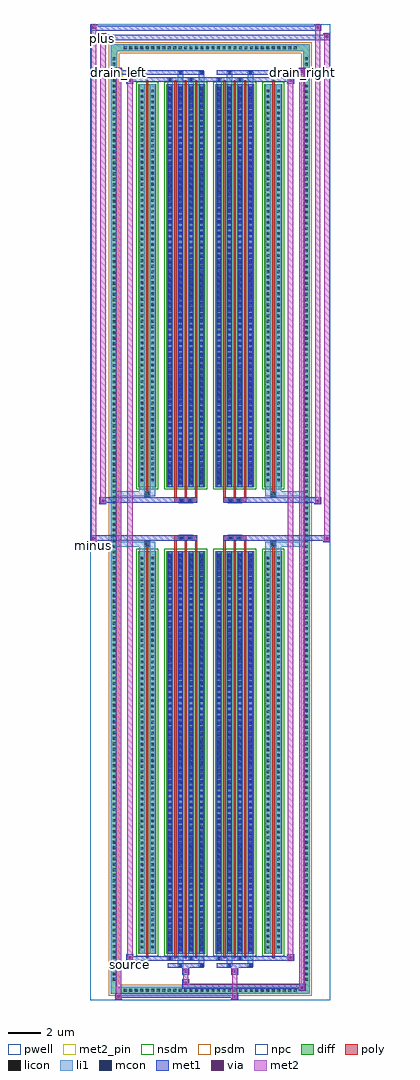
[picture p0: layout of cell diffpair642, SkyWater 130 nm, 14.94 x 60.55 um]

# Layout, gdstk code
import gdstk
lib = gdstk.Library(unit=1e-6, precision=5e-09)
def R(c, l, rs):  # rectangles x0, y0, x1, y1
    for r in rs: c.add(gdstk.rectangle(r[:2], r[2:], *l))
def A(c, l, x, y, w, h, nx, ny, dx, dy):  # array of equal rectangles
    R(c, l, [(x+i*dx, y+j*dy, x+i*dx+w, y+j*dy+h) for i in range(nx) for j in range(ny)])
def P(c, l, *ps):  # polygons
    for p in ps: c.add(gdstk.Polygon(p, *l))
pwell = (64, 44)
diff = (65, 20)
poly = (66, 20)
licon = (66, 44)
li1 = (67, 20)
mcon = (67, 44)
met1 = (68, 20)
via = (68, 44)
met2_pin = (69, 16)
met2 = (69, 20)
nsdm = (93, 44)
psdm = (94, 20)
npc = (95, 20)

diffpair642 = lib.new_cell('diffpair642')
R(diffpair642, pwell, [(-7.45,-29.84,7.45,30.71), (-4.77,-28.03,-0.01,-0.805), (0.01,-28.03,4.77,-0.805), (-4.77,0.805,-0.01,28.03), (0.01,0.805,4.77,28.03)])
A(diffpair642, diff, -5.475, -29.44, 0.41, 0.41, 32, 2, 0.34, 58.47)
A(diffpair642, diff, -6.18, -28.765, 0.41, 0.41, 1, 169, 0, 0.34)
A(diffpair642, diff, 5.77, -28.765, 0.41, 0.41, 1, 169, 0, 0.34)
R(diffpair642, diff, [(-5.475,-29.44,5.475,-29.03), (-6.18,-28.765,-5.77,28.765), (5.77,-28.765,6.18,28.765), (-4.46,-26.985,-3.36,-1.985), (-2.72,-26.985,-0.32,-1.985), (0.32,-26.985,2.72,-1.985), (3.36,-26.985,4.46,-1.985), (-4.46,1.985,-3.36,26.985), (-2.72,1.985,-0.32,26.985), (0.32,1.985,2.72,26.985), (3.36,1.985,4.46,26.985), (-5.475,29.03,5.475,29.44)])
P(diffpair642, diff, [(6.18,29.44),(-6.18,29.44),(-6.18,-29.03),(-5.77,-29.03),(-5.77,29.03),(5.77,29.03),(5.77,-29.03),(-5.77,-29.03),(-6.18,-29.03),(-6.18,-29.44),(6.18,-29.44)])
A(diffpair642, poly, -2.245, -27.235, 0.15, 25.5, 3, 2, 0.65, 28.97)
A(diffpair642, poly, 0.795, -27.235, 0.15, 25.5, 3, 2, 0.65, 28.97)
A(diffpair642, poly, -2.245, -1.735, 0.15, 0.4, 3, 2, 0.65, 3.07)
A(diffpair642, poly, 0.795, -1.735, 0.15, 0.4, 3, 2, 0.65, 3.07)
R(diffpair642, poly, [(-3.985,-27.235,-3.835,-1.735), (3.835,-27.235,3.985,-1.735), (-4.075,-1.735,-3.745,-1.405), (-4.075,-1.735,-3.745,-1.405), (3.745,-1.735,4.075,-1.405), (3.745,-1.735,4.075,-1.405), (-2.245,-1.335,-0.795,-1.005), (-1.935,-1.335,-1.605,-1.005), (-1.435,-1.335,-1.105,-1.005), (0.795,-1.335,2.245,-1.005), (1.105,-1.335,1.435,-1.005), (1.605,-1.335,1.935,-1.005), (-2.245,1.005,-0.795,1.335), (-1.935,1.005,-1.605,1.335), (-1.435,1.005,-1.105,1.335), (0.795,1.005,2.245,1.335), (1.105,1.005,1.435,1.335), (1.605,1.005,1.935,1.335), (-4.075,1.405,-3.745,1.735), (-4.075,1.405,-3.745,1.735), (3.745,1.405,4.075,1.735), (3.745,1.405,4.075,1.735), (-3.985,1.735,-3.835,27.235), (3.835,1.735,3.985,27.235)])
A(diffpair642, licon, -5.355, -29.32, 0.17, 0.17, 32, 2, 0.34, 58.47)
A(diffpair642, licon, -6.06, -28.645, 0.17, 0.17, 1, 169, 0, 0.34)
A(diffpair642, licon, 5.89, -28.645, 0.17, 0.17, 1, 169, 0, 0.34)
A(diffpair642, licon, -4.32, -26.64, 0.17, 0.17, 1, 72, 0, 0.34)
A(diffpair642, licon, -3.67, -26.64, 0.17, 0.17, 1, 72, 0, 0.34)
A(diffpair642, licon, -2.58, -26.64, 0.17, 0.17, 4, 72, 0.65, 0.34)
A(diffpair642, licon, 0.46, -26.64, 0.17, 0.17, 4, 72, 0.65, 0.34)
A(diffpair642, licon, 3.5, -26.64, 0.17, 0.17, 1, 72, 0, 0.34)
A(diffpair642, licon, 4.15, -26.64, 0.17, 0.17, 1, 72, 0, 0.34)
A(diffpair642, licon, -4.32, 2.33, 0.17, 0.17, 1, 72, 0, 0.34)
A(diffpair642, licon, -3.67, 2.33, 0.17, 0.17, 1, 72, 0, 0.34)
A(diffpair642, licon, -2.58, 2.33, 0.17, 0.17, 4, 72, 0.65, 0.34)
A(diffpair642, licon, 0.46, 2.33, 0.17, 0.17, 4, 72, 0.65, 0.34)
A(diffpair642, licon, 3.5, 2.33, 0.17, 0.17, 1, 72, 0, 0.34)
A(diffpair642, licon, 4.15, 2.33, 0.17, 0.17, 1, 72, 0, 0.34)
R(diffpair642, licon, [(-3.995,-1.655,-3.825,-1.485), (3.825,-1.655,3.995,-1.485), (-1.855,-1.255,-1.685,-1.085), (-1.355,-1.255,-1.185,-1.085), (1.185,-1.255,1.355,-1.085), (1.685,-1.255,1.855,-1.085), (-1.855,1.085,-1.685,1.255), (-1.355,1.085,-1.185,1.255), (1.185,1.085,1.355,1.255), (1.685,1.085,1.855,1.255), (-3.995,1.485,-3.825,1.655), (3.825,1.485,3.995,1.655)])
A(diffpair642, li1, -5.435, -29.4, 0.33, 0.33, 32, 2, 0.34, 58.47)
A(diffpair642, li1, -6.14, -28.725, 0.33, 0.33, 1, 169, 0, 0.34)
A(diffpair642, li1, 5.81, -28.725, 0.33, 0.33, 1, 169, 0, 0.34)
A(diffpair642, li1, -2.66, -26.985, 0.33, 25, 4, 2, 0.65, 28.97)
A(diffpair642, li1, 0.38, -26.985, 0.33, 25, 4, 2, 0.65, 28.97)
A(diffpair642, li1, -2.58, -26.81, 0.17, 0.17, 4, 69, 0.65, 0.36)
A(diffpair642, li1, -2.58, -26.81, 0.17, 24.65, 4, 2, 0.65, 28.97)
A(diffpair642, li1, 0.46, -26.81, 0.17, 0.17, 4, 69, 0.65, 0.36)
A(diffpair642, li1, 0.46, -26.81, 0.17, 24.65, 4, 2, 0.65, 28.97)
A(diffpair642, li1, -4.4, -26.72, 0.33, 0.33, 1, 72, 0, 0.34)
A(diffpair642, li1, -3.75, -26.72, 0.33, 0.33, 1, 72, 0, 0.34)
A(diffpair642, li1, -2.66, -26.72, 0.33, 0.33, 4, 72, 0.65, 0.34)
A(diffpair642, li1, 0.38, -26.72, 0.33, 0.33, 4, 72, 0.65, 0.34)
A(diffpair642, li1, 3.42, -26.72, 0.33, 0.33, 1, 72, 0, 0.34)
A(diffpair642, li1, 4.07, -26.72, 0.33, 0.33, 1, 72, 0, 0.34)
A(diffpair642, li1, -2.58, 2.16, 0.17, 0.17, 4, 69, 0.65, 0.36)
A(diffpair642, li1, 0.46, 2.16, 0.17, 0.17, 4, 69, 0.65, 0.36)
A(diffpair642, li1, -4.4, 2.25, 0.33, 0.33, 1, 72, 0, 0.34)
A(diffpair642, li1, -3.75, 2.25, 0.33, 0.33, 1, 72, 0, 0.34)
A(diffpair642, li1, -2.66, 2.25, 0.33, 0.33, 4, 72, 0.65, 0.34)
A(diffpair642, li1, 0.38, 2.25, 0.33, 0.33, 4, 72, 0.65, 0.34)
A(diffpair642, li1, 3.42, 2.25, 0.33, 0.33, 1, 72, 0, 0.34)
A(diffpair642, li1, 4.07, 2.25, 0.33, 0.33, 1, 72, 0, 0.34)
R(diffpair642, li1, [(-6.18,-29.44,-5.77,-29.03), (-6.18,-29.44,-5.77,-29.03), (-5.77,-29.44,5.77,-29.03), (5.77,-29.44,6.18,-29.03), (5.77,-29.44,6.18,-29.03), (-6.18,-29.03,-5.77,29.03), (5.77,-29.03,6.18,29.03), (-2.01,-27.79,-1.68,-26.985), (-1.93,-27.79,-1.76,-27.62), (-0.71,-27.79,-0.38,-26.985), (-0.63,-27.79,-0.46,-27.62), (1.03,-27.79,1.36,-26.985), (1.11,-27.79,1.28,-27.62), (2.33,-27.79,2.66,-26.985), (2.41,-27.79,2.58,-27.62), (-2.66,-27.36,-2.33,-26.985), (-2.58,-27.36,-2.41,-27.19), (-1.36,-27.36,-1.03,-26.985), (-1.28,-27.36,-1.11,-27.19), (0.38,-27.36,0.71,-26.985), (0.46,-27.36,0.63,-27.19), (1.68,-27.36,2.01,-26.985), (1.76,-27.36,1.93,-27.19), (-4.4,-26.985,-4.07,-1.985), (-3.75,-26.985,-3.42,-1.985), (3.42,-26.985,3.75,-1.985), (4.07,-26.985,4.4,-1.985), (-4.4,-1.985,-4.07,-1.405), (-3.75,-1.985,-3.42,-1.405), (3.42,-1.985,3.75,-1.405), (4.07,-1.985,4.4,-1.405), (-6.18,-1.735,-4.075,-1.405), (-4.4,-1.735,-4.075,-1.405), (-4.075,-1.735,-3.745,-1.405), (-3.745,-1.735,-3.42,-1.405), (3.42,-1.735,3.745,-1.405), (3.745,-1.735,4.075,-1.405), (3.745,-1.735,6.18,-1.405), (4.075,-1.735,4.4,-1.405), (-1.935,-1.335,-1.605,-1.005), (-1.435,-1.335,-1.105,-1.005), (1.105,-1.335,1.435,-1.005), (1.605,-1.335,1.935,-1.005), (-1.935,1.005,-1.605,1.335), (-1.435,1.005,-1.105,1.335), (1.105,1.005,1.435,1.335), (1.605,1.005,1.935,1.335), (-6.18,1.405,-4.075,1.735), (-4.4,1.405,-4.075,1.735), (-4.4,1.405,-4.07,1.985), (-4.075,1.405,-3.745,1.735), (-3.75,1.405,-3.42,1.985), (-3.745,1.405,-3.42,1.735), (3.42,1.405,3.745,1.735), (3.42,1.405,3.75,1.985), (3.745,1.405,4.075,1.735), (3.745,1.405,6.18,1.735), (4.07,1.405,4.4,1.985), (4.075,1.405,4.4,1.735), (-4.4,1.985,-4.07,26.985), (-3.75,1.985,-3.42,26.985), (3.42,1.985,3.75,26.985), (4.07,1.985,4.4,26.985), (-2.66,26.985,-2.33,27.36), (-2.01,26.985,-1.68,27.79), (-1.36,26.985,-1.03,27.36), (-0.71,26.985,-0.38,27.79), (0.38,26.985,0.71,27.36), (1.03,26.985,1.36,27.79), (1.68,26.985,2.01,27.36), (2.33,26.985,2.66,27.79), (-2.58,27.19,-2.41,27.36), (-1.28,27.19,-1.11,27.36), (0.46,27.19,0.63,27.36), (1.76,27.19,1.93,27.36), (-1.93,27.62,-1.76,27.79), (-0.63,27.62,-0.46,27.79), (1.11,27.62,1.28,27.79), (2.41,27.62,2.58,27.79), (-6.18,29.03,-5.77,29.44), (-6.18,29.03,-5.77,29.44), (-5.77,29.03,5.77,29.44), (5.77,29.03,6.18,29.44), (5.77,29.03,6.18,29.44)])
A(diffpair642, mcon, -2.58, -26.81, 0.17, 0.17, 4, 69, 0.65, 0.36)
A(diffpair642, mcon, 0.46, -26.81, 0.17, 0.17, 4, 69, 0.65, 0.36)
A(diffpair642, mcon, -2.58, 2.16, 0.17, 0.17, 4, 69, 0.65, 0.36)
A(diffpair642, mcon, 0.46, 2.16, 0.17, 0.17, 4, 69, 0.65, 0.36)
R(diffpair642, mcon, [(-1.93,-27.79,-1.76,-27.62), (-0.63,-27.79,-0.46,-27.62), (1.11,-27.79,1.28,-27.62), (2.41,-27.79,2.58,-27.62), (-2.58,-27.36,-2.41,-27.19), (-1.28,-27.36,-1.11,-27.19), (0.46,-27.36,0.63,-27.19), (1.76,-27.36,1.93,-27.19), (-1.855,-1.255,-1.685,-1.085), (-1.355,-1.255,-1.185,-1.085), (1.185,-1.255,1.355,-1.085), (1.685,-1.255,1.855,-1.085), (-1.855,1.085,-1.685,1.255), (-1.355,1.085,-1.185,1.255), (1.185,1.085,1.355,1.255), (1.685,1.085,1.855,1.255), (-2.58,27.19,-2.41,27.36), (-1.28,27.19,-1.11,27.36), (0.46,27.19,0.63,27.36), (1.76,27.19,1.93,27.36), (-1.93,27.62,-1.76,27.79), (-0.63,27.62,-0.46,27.79), (1.11,27.62,1.28,27.79), (2.41,27.62,2.58,27.79)])
A(diffpair642, met1, -2.64, -26.985, 0.29, 25, 4, 2, 0.65, 28.97)
A(diffpair642, met1, 0.4, -26.985, 0.29, 25, 4, 2, 0.65, 28.97)
A(diffpair642, met1, -2.64, -26.87, 0.29, 0.29, 4, 69, 0.65, 0.36)
A(diffpair642, met1, 0.4, -26.87, 0.29, 0.29, 4, 69, 0.65, 0.36)
A(diffpair642, met1, -2.64, 2.1, 0.29, 0.29, 4, 69, 0.65, 0.36)
A(diffpair642, met1, 0.4, 2.1, 0.29, 0.29, 4, 69, 0.65, 0.36)
R(diffpair642, met1, [(-5.91,-29.84,-5.48,-29.41), (1.305,-29.84,1.735,-29.41), (-5.91,-29.7,1.735,-29.41), (5.48,-29.27,5.91,-28.84), (-1.735,-29.13,5.91,-28.84), (-1.735,-28.99,-1.305,-28.56), (-1.735,-28.28,-1.305,-27.85), (1.305,-28.28,1.735,-27.85), (-2.64,-27.85,-0.4,-27.56), (-1.99,-27.85,-1.7,-27.56), (-0.69,-27.85,-0.4,-27.56), (0.4,-27.85,2.64,-27.56), (1.05,-27.85,1.34,-27.56), (2.35,-27.85,2.64,-27.56), (-5.2,-27.42,-4.77,-26.99), (-5.2,-27.42,-2.64,-27.13), (-2.64,-27.42,-2.35,-27.13), (-2.64,-27.42,-0.4,-27.13), (-1.34,-27.42,-1.05,-27.13), (-0.4,-27.42,0.4,-27.13), (0.4,-27.42,0.69,-27.13), (0.4,-27.42,2.64,-27.13), (1.7,-27.42,1.99,-27.13), (2.64,-27.42,5.2,-27.13), (4.77,-27.42,5.2,-26.99), (-7.45,-1.435,-7.02,-1.005), (7.02,-1.435,7.45,-1.005), (-7.45,-1.335,-0.795,-1.005), (-2.245,-1.335,-0.795,-1.005), (0.795,-1.335,2.245,-1.005), (0.795,-1.335,7.45,-1.005), (-1.915,-1.315,-1.625,-1.025), (-1.415,-1.315,-1.125,-1.025), (1.125,-1.315,1.415,-1.025), (1.625,-1.315,1.915,-1.025), (-6.88,0.905,-6.45,1.335), (6.45,0.905,6.88,1.335), (-6.88,1.005,-2.245,1.335), (-2.245,1.005,-0.795,1.335), (0.795,1.005,2.245,1.335), (2.245,1.005,6.88,1.335), (-1.915,1.025,-1.625,1.315), (-1.415,1.025,-1.125,1.315), (1.125,1.025,1.415,1.315), (1.625,1.025,1.915,1.315), (-5.2,26.99,-4.77,27.42), (4.77,26.99,5.2,27.42), (-5.2,27.13,-2.64,27.42), (-2.64,27.13,-2.35,27.42), (-2.64,27.13,-0.4,27.42), (-1.34,27.13,-1.05,27.42), (-0.4,27.13,0.4,27.42), (0.4,27.13,0.69,27.42), (0.4,27.13,2.64,27.42), (1.7,27.13,1.99,27.42), (2.64,27.13,5.2,27.42), (-5.91,27.56,-5.48,27.99), (-5.91,27.56,-2.64,27.85), (-2.64,27.56,-0.4,27.85), (-1.99,27.56,-1.7,27.85), (-0.69,27.56,-0.4,27.85), (0.4,27.56,2.64,27.85), (1.05,27.56,1.34,27.85), (2.35,27.56,2.64,27.85), (2.64,27.56,5.91,27.85), (5.48,27.56,5.91,27.99), (-6.88,29.71,-6.45,30.14), (-6.88,29.71,-4.77,30.04), (-4.77,29.71,4.77,30.04), (4.77,29.71,7.45,30.04), (7.02,29.71,7.45,30.14), (-7.45,30.28,-7.02,30.71), (-7.45,30.28,-4.77,30.61), (-4.77,30.28,4.77,30.61), (4.77,30.28,6.88,30.61), (6.45,30.28,6.88,30.71)])
R(diffpair642, via, [(-5.77,-29.7,-5.62,-29.55), (1.445,-29.7,1.595,-29.55), (5.62,-29.13,5.77,-28.98), (-1.595,-28.85,-1.445,-28.7), (-1.595,-28.14,-1.445,-27.99), (1.445,-28.14,1.595,-27.99), (-5.06,-27.28,-4.91,-27.13), (4.91,-27.28,5.06,-27.13), (-7.31,-1.295,-7.16,-1.145), (7.16,-1.295,7.31,-1.145), (-6.74,1.045,-6.59,1.195), (6.59,1.045,6.74,1.195), (-5.06,27.13,-4.91,27.28), (4.91,27.13,5.06,27.28), (-5.77,27.7,-5.62,27.85), (5.62,27.7,5.77,27.85), (-6.74,29.85,-6.59,30), (7.16,29.85,7.31,30), (-7.31,30.42,-7.16,30.57), (6.59,30.42,6.74,30.57)])
R(diffpair642, met2_pin, [(-5.235,-27.87,-4.735,-27.37), (-7.485,-1.885,-6.985,-1.385), (-5.945,27.44,-5.445,27.94), (5.445,27.44,5.945,27.94), (-6.915,29.59,-6.415,30.09)])
R(diffpair642, met2, [(-5.86,-29.79,-5.53,-29.46), (-5.86,-29.79,-5.53,27.94), (1.355,-29.79,1.685,-29.46), (1.355,-29.46,1.685,-28.23), (5.53,-29.22,5.86,-28.89), (5.53,-29.22,5.86,27.94), (-1.685,-28.94,-1.355,-28.61), (-1.685,-28.61,-1.355,-28.23), (-1.685,-28.23,-1.355,-27.9), (1.355,-28.23,1.685,-27.9), (-5.15,-27.37,-4.82,-27.04), (-5.15,-27.37,-4.82,27.37), (4.82,-27.37,5.15,-27.04), (4.82,-27.37,5.15,27.37), (-7.4,-1.385,-7.07,-1.055), (-7.4,-1.385,-7.07,30.66), (7.07,-1.385,7.4,-1.055), (7.07,-1.385,7.4,30.09), (-6.83,0.955,-6.5,1.285), (-6.83,0.955,-6.5,30.09), (6.5,0.955,6.83,1.285), (6.5,0.955,6.83,30.66), (-5.15,27.04,-4.82,27.37), (4.82,27.04,5.15,27.37), (-5.86,27.61,-5.53,27.94), (5.53,27.61,5.86,27.94), (-6.83,29.76,-6.5,30.09), (7.07,29.76,7.4,30.09), (-7.4,30.33,-7.07,30.66), (6.5,30.33,6.83,30.66)])
P(diffpair642, met2, [(7.4,-1.385),(7.4,-1.385),(7.4,-1.055),(7.4,-1.055)],
  [(7.4,29.76),(7.4,29.76),(7.4,30.09),(7.4,30.09)],
  [(-7.07,-1.385),(-7.07,-1.385),(-7.07,-1.055),(-7.07,-1.055)],
  [(-7.07,30.33),(-7.07,30.33),(-7.07,30.66),(-7.07,30.66)],
  [(6.83,0.955),(6.83,0.955),(6.83,1.285),(6.83,1.285)],
  [(6.83,30.33),(6.83,30.33),(6.83,30.66),(6.83,30.66)],
  [(-6.5,0.955),(-6.5,0.955),(-6.5,1.285),(-6.5,1.285)],
  [(-6.5,29.76),(-6.5,29.76),(-6.5,30.09),(-6.5,30.09)],
  [(-5.53,-29.79),(-5.53,-29.79),(-5.53,-29.46),(-5.53,-29.46)],
  [(-5.53,27.61),(-5.53,27.61),(-5.53,27.94),(-5.53,27.94)],
  [(5.86,-29.22),(5.86,-29.22),(5.86,-28.89),(5.86,-28.89)],
  [(5.86,27.61),(5.86,27.61),(5.86,27.94),(5.86,27.94)],
  [(-4.82,-27.37),(-4.82,-27.37),(-4.82,-27.04),(-4.82,-27.04)],
  [(-4.82,27.04),(-4.82,27.04),(-4.82,27.37),(-4.82,27.37)],
  [(5.15,-27.37),(5.15,-27.37),(5.15,-27.04),(5.15,-27.04)],
  [(5.15,27.04),(5.15,27.04),(5.15,27.37),(5.15,27.37)])
R(diffpair642, nsdm, [(-4.59,-27.115,-3.23,-1.855), (-2.85,-27.115,-0.19,-1.855), (0.19,-27.115,2.85,-1.855), (3.23,-27.115,4.59,-1.855), (-4.59,1.855,-3.23,27.115), (-2.85,1.855,-0.19,27.115), (0.19,1.855,2.85,27.115), (3.23,1.855,4.59,27.115)])
P(diffpair642, psdm, [(6.31,29.57),(-6.31,29.57),(-6.31,-28.9),(-5.64,-28.9),(-5.64,28.9),(5.64,28.9),(5.64,-28.9),(-5.64,-28.9),(-6.31,-28.9),(-6.31,-29.57),(6.31,-29.57)])
R(diffpair642, npc, [(-4.095,-1.755,-3.725,-1.385), (3.725,-1.755,4.095,-1.385), (-1.955,-1.355,-1.585,-0.985), (-1.955,-1.355,-1.085,-0.985), (-1.955,-1.355,-1.085,-0.985), (-1.455,-1.355,-1.085,-0.985), (1.085,-1.355,1.455,-0.985), (1.085,-1.355,1.955,-0.985), (1.085,-1.355,1.955,-0.985), (1.585,-1.355,1.955,-0.985), (-1.955,0.985,-1.585,1.355), (-1.955,0.985,-1.085,1.355), (-1.955,0.985,-1.085,1.355), (-1.455,0.985,-1.085,1.355), (1.085,0.985,1.455,1.355), (1.085,0.985,1.955,1.355), (1.085,0.985,1.955,1.355), (1.585,0.985,1.955,1.355), (-4.095,1.385,-3.725,1.755), (3.725,1.385,4.095,1.755)])
diffpair642.add(gdstk.Label('minus', (-7.235,-1.635), layer=69, texttype=5))
diffpair642.add(gdstk.Label('drain_right', (5.695,27.69), layer=69, texttype=5))
diffpair642.add(gdstk.Label('drain_left', (-5.695,27.69), layer=69, texttype=5))
diffpair642.add(gdstk.Label('source', (-4.985,-27.62), layer=69, texttype=5))
diffpair642.add(gdstk.Label('plus', (-6.665,29.84), layer=69, texttype=5))

lib.write_gds('diffpair642.gds')
